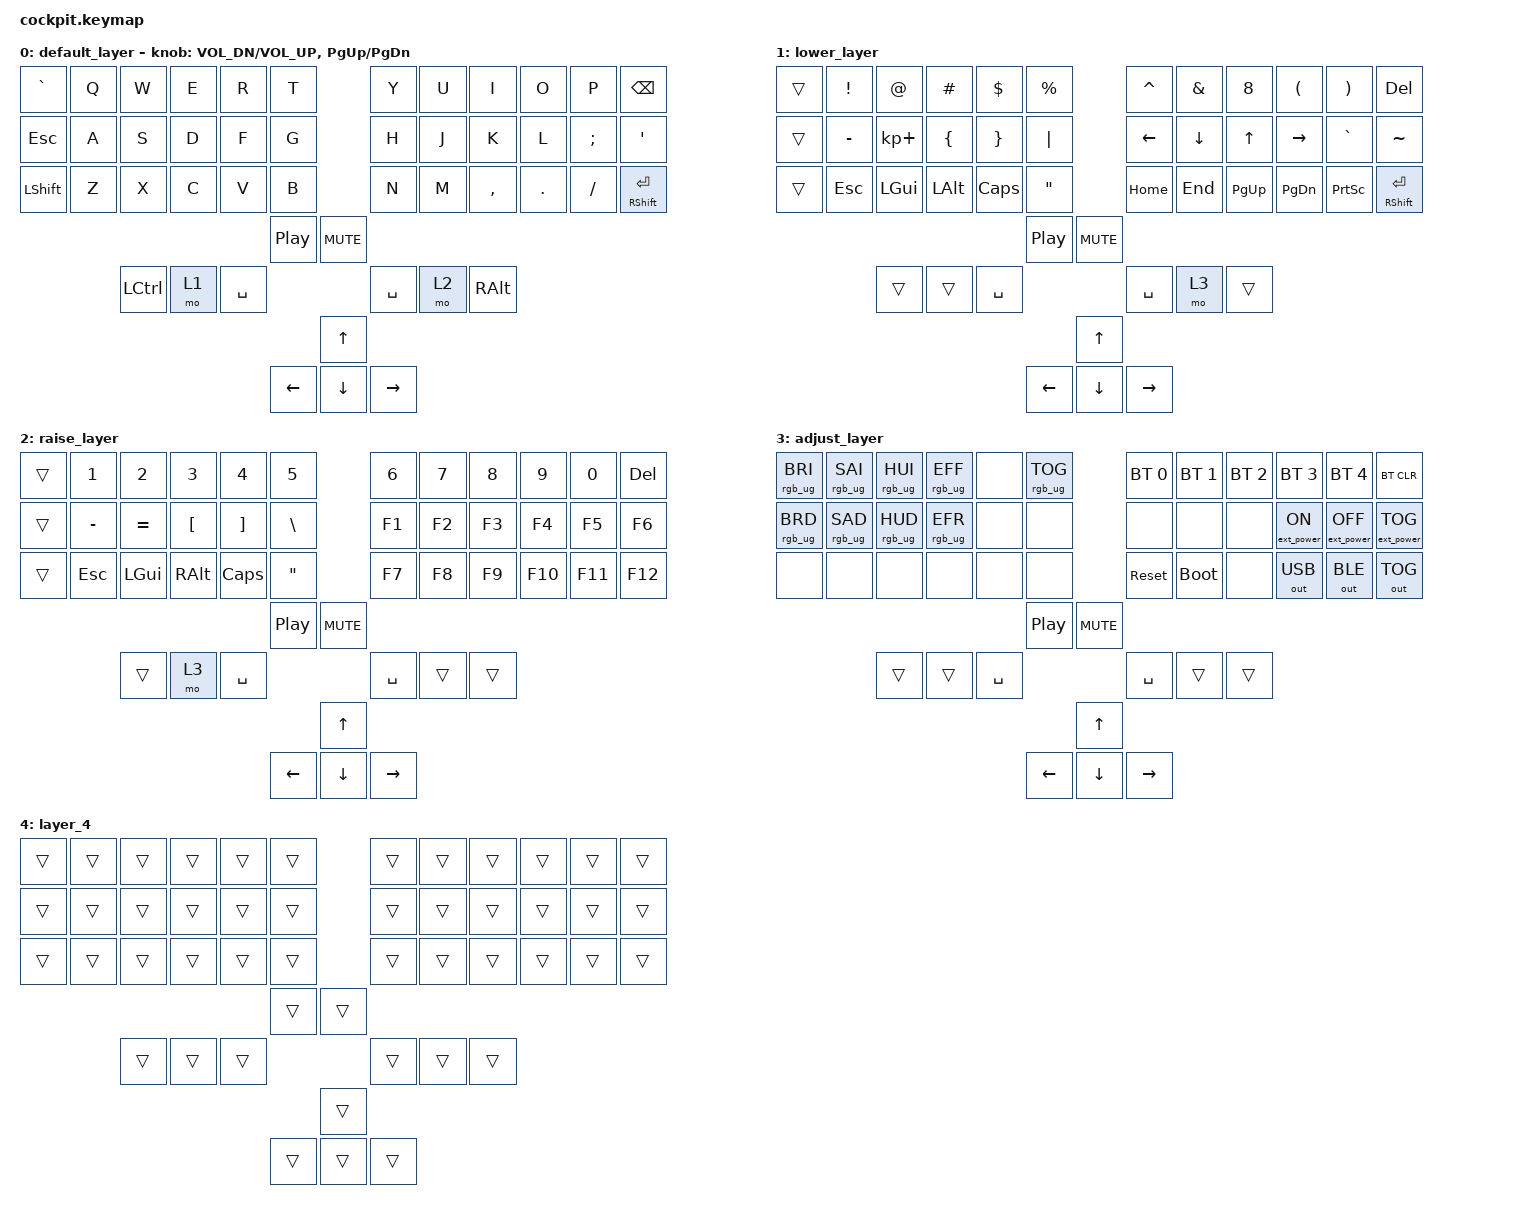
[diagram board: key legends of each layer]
/*
 * Copyright (c) 2022 ozkancelik  | github.com/ozkan
 *
 * SPDX-License-Identifier: MIT
 */

#include <dt-bindings/led/led.h>
#include <behaviors.dtsi>
#include <dt-bindings/zmk/bt.h>
#include <dt-bindings/zmk/ext_power.h>
#include <dt-bindings/zmk/keys.h>
#include <dt-bindings/zmk/outputs.h>
#include <dt-bindings/zmk/rgb.h>

&left_encoder { status = "okay"; };

&right_encoder { status = "okay"; };

/ {
    keymap {
        compatible = "zmk,keymap";

        default_layer {
            // BASE
            // ╭──────┬──────┬──────┬──────┬──────┬──────╮                   ╭──────┬──────┬──────┬──────┬──────┬──────╮
            // │  TAB │  Q   │  W   │  E   │  R   │  T   │                   │  Y   │  U   │  I   │  O   │   P  │ BSPC │
            // ├──────┼──────┼──────┼──────┼──────┼──────┤                   ├──────┼──────┼──────┼──────┼──────┼──────┤
            // │ CTRL │  A   │  S   │  D   │  F   │  G   │                   │  H   │  J   │  K   │  L   │   ;  │   '  │
            // ├──────┼──────┼──────┼──────┼──────┼──────┤                   ├──────┼──────┼──────┼──────┼──────┼──────┤
            // │ LSFT │  Z   │  X   │    C │  V   │  B   │                   │  N   │  M   │  ,   │    . │  /   │RS-ENT│
            // ╰──────┴──────┴──────┴──────┴──────┴──────┼─────────┬─────────┼──────┴──────┴──────┴──────┴──────┴──────╯
            //                                           │   MPLY  │  MUTE   │
            //                     ╭──────┬──────┬───────┼─────────┴─────────┼──────┬──────┬──────╮
            //                     │  ALT │LOWER │  FNL  │                   │ FNR  │RAISE │ RALT │
            //                     ╰──────┴──────┴───────┴─────┬──────┬──────┴──────┴──────┴──────╯
            //                                                 │  UP  │
            //                                          ╭──────┼──────┼──────╮
            //                                          │ LEFT │ DOWN │ RIGHT│
            //                                          ╰──────┴──────┴──────╯

            bindings = <
&kp GRAVE   &kp Q  &kp W                    &kp E         &kp R             &kp T                             &kp Y            &kp U  &kp I      &kp O    &kp P     &kp BSPC
&kp ESCAPE  &kp A  &kp S                    &kp D         &kp F             &kp G                             &kp H            &kp J  &kp K      &kp L    &kp SEMI  &kp SQT
&kp LSHFT   &kp Z  &kp X                    &kp C         &kp V             &kp B                             &kp N            &kp M  &kp COMMA  &kp DOT  &kp FSLH  &mt RSHFT RET
                                                                            &kp C_PLAY_PAUSE  &kp C_MUTE
                          &kp LEFT_CONTROL         &mo 1         &kp SPACE                                    &kp SPACE        &mo 2  &kp RALT
                                                                                              &kp UP_ARROW
                                                                            &kp LEFT_ARROW    &kp DOWN_ARROW  &kp RIGHT_ARROW
            >;

            sensor-bindings = <&inc_dec_kp C_VOL_DN C_VOL_UP &inc_dec_kp PG_UP PG_DN>;
        };

        lower_layer {
            // LOWER
            // ╭──────┬──────┬──────┬──────┬──────┬──────╮                   ╭──────┬──────┬──────┬──────┬──────┬──────╮
            // │  TAB │      │      │      │      │      │                   │      │      │      │      │      │ BSPC │
            // ├──────┼──────┼──────┼──────┼──────┼──────┤                   ├──────┼──────┼──────┼──────┼──────┼──────┤
            // │ CTRL │      │      │      │      │      │                   │      │      │      │      │      │   '  │
            // ├──────┼──────┼──────┼──────┼──────┼──────┤                   ├──────┼──────┼──────┼──────┼──────┼──────┤
            // │  SFT │      │      │      │      │      │                   │      │      │      │      │      │ ENT  │
            // ╰──────┴──────┴──────┴──────┴──────┴──────┼─────────┬─────────┼──────┴──────┴──────┴──────┴──────┴──────╯
            //                                           │   MPLY  │  MUTE   │
            //                     ╭──────┬──────┬───────┼─────────┴─────────┼──────┬──────┬──────╮
            //                     │  ALT │LOWER │  FNL  │                   │ FNR  │RAISE │  WIN │
            //                     ╰──────┴──────┴───────┴─────┬──────┬──────┴──────┴──────┴──────╯
            //                                                 │  UP  │
            //                                          ╭──────┼──────┼──────╮
            //                                          │ LEFT │ DOWN │ RIGHT│
            //                                          ╰──────┴──────┴──────╯

            bindings = <
&trans  &kp EXCL   &kp AT               &kp HASH          &kp DLLR             &kp PRCNT                         &kp CARET        &kp AMPS  &kp N8     &kp LPAR   &kp RPAR   &kp DEL
&trans  &kp MINUS  &kp KP_PLUS          &kp LBRC          &kp RBRC             &kp PIPE                          &kp LEFT         &kp DOWN  &kp UP     &kp RIGHT  &kp GRAVE  &kp TILDE
&trans  &kp ESC    &kp LGUI             &kp LALT          &kp CLCK             &kp DQT                           &kp HOME         &kp END   &kp PG_UP  &kp PG_DN  &kp PSCRN  &mt RSHFT RET
                                                                               &kp C_PLAY_PAUSE  &kp C_MUTE
                                &trans            &trans            &kp SPACE                                    &kp SPACE        &mo 3     &trans
                                                                                                 &kp UP_ARROW
                                                                               &kp LEFT_ARROW    &kp DOWN_ARROW  &kp RIGHT_ARROW
            >;
        };

        raise_layer {
            // ╭──────┬──────┬──────┬──────┬──────┬──────╮                   ╭──────┬──────┬──────┬──────┬──────┬──────╮
            // │  TAB │      │      │      │      │      │                   │      │      │      │      │      │ BSPC │
            // ├──────┼──────┼──────┼──────┼──────┼──────┤                   ├──────┼──────┼──────┼──────┼──────┼──────┤
            // │ CTRL │      │      │      │      │      │                   │      │      │      │      │      │   '  │
            // ├──────┼──────┼──────┼──────┼──────┼──────┤                   ├──────┼──────┼──────┼──────┼──────┼──────┤
            // │  SFT │      │      │      │      │      │                   │      │      │      │      │      │ ENT  │
            // ╰──────┴──────┴──────┴──────┴──────┴──────┼─────────┬─────────┼──────┴──────┴──────┴──────┴──────┴──────╯
            //                                           │   MPLY  │  MUTE   │
            //                     ╭──────┬──────┬───────┼─────────┴─────────┼──────┬──────┬──────╮
            //                     │  ALT │LOWER │  FNL  │                   │ FNR  │RAISE │  WIN │
            //                     ╰──────┴──────┴───────┴─────┬──────┬──────┴──────┴──────┴──────╯
            //                                                 │  UP  │
            //                                          ╭──────┼──────┼──────╮
            //                                          │ LEFT │ DOWN │ RIGHT│
            //                                          ╰──────┴──────┴──────╯

            bindings = <
&trans  &kp N1     &kp N2             &kp N3           &kp N4               &kp N5                            &kp N6           &kp N7  &kp N8  &kp N9   &kp N0   &kp DEL
&trans  &kp MINUS  &kp EQUAL          &kp LBKT         &kp RBKT             &kp BSLH                          &kp F1           &kp F2  &kp F3  &kp F4   &kp F5   &kp F6
&trans  &kp ESC    &kp LGUI           &kp RALT         &kp CLCK             &kp DQT                           &kp F7           &kp F8  &kp F9  &kp F10  &kp F11  &kp F12
                                                                            &kp C_PLAY_PAUSE  &kp C_MUTE
                              &trans            &mo 3            &kp SPACE                                    &kp SPACE        &trans  &trans
                                                                                              &kp UP_ARROW
                                                                            &kp LEFT_ARROW    &kp DOWN_ARROW  &kp RIGHT_ARROW
            >;
        };

        adjust_layer {
            // ADJUST
            // ╭──────┬──────┬──────┬──────┬──────┬──────╮                   ╭──────┬──────┬──────┬──────┬──────┬──────╮
            // | BRI+ | SAT+ | HUE+ | ANI+ |      | TOG  |                   │ bt1  | bt2  | bt3  | bt4  | bt5  |btclr │
            // ├──────┼──────┼──────┼──────┼──────┼──────┤                   ├──────┼──────┼──────┼──────┼──────┼──────┤
            // | BRI- | SAT- | HUE- | ANI- |      |      |                   |      |      |      |EP_ON |EP_OFF|EP_TOG|
            // ├──────┼──────┼──────┼──────┼──────┼──────┤                   ├──────┼──────┼──────┼──────┼──────┼──────┤
            // │      │      │      │      │      │      │                   |RESET |BOOTL |      |O_USB |O_BLE|OUT_TOG|
            // ╰──────┴──────┴──────┴──────┴──────┴──────┼─────────┬─────────┼──────┴──────┴──────┴──────┴──────┴──────╯
            //                                           │   MPLY  │  MUTE   │
            //                     ╭──────┬──────┬───────┼─────────┴─────────┼──────┬──────┬──────╮
            //                     │      │      │  SPC  │                   │ SPC  │      │      │
            //                     ╰──────┴──────┴───────┴─────┬──────┬──────┴──────┴──────┴──────╯
            //                                                 │  UP  │
            //                                          ╭──────┼──────┼──────╮
            //                                          │ LEFT │ DOWN │ RIGHT│
            //                                          ╰──────┴──────┴──────╯

            bindings = <
&rgb_ug RGB_BRI  &rgb_ug RGB_SAI  &rgb_ug RGB_HUI          &rgb_ug RGB_EFF          &none             &rgb_ug RGB_TOG                   &bt BT_SEL 0     &bt BT_SEL 1  &bt BT_SEL 2  &bt BT_SEL 3      &bt BT_SEL 4       &bt BT_CLR
&rgb_ug RGB_BRD  &rgb_ug RGB_SAD  &rgb_ug RGB_HUD          &rgb_ug RGB_EFR          &none             &none                             &none            &none         &none         &ext_power EP_ON  &ext_power EP_OFF  &ext_power EP_TOG
&none            &none            &none                    &none                    &none             &none                             &sys_reset       &bootloader   &none         &out OUT_USB      &out OUT_BLE       &out OUT_TOG
                                                                                                      &kp C_PLAY_PAUSE  &kp C_MUTE
                                                   &trans                   &trans         &kp SPACE                                    &kp SPACE        &trans        &trans
                                                                                                                        &kp UP_ARROW
                                                                                                      &kp LEFT_ARROW    &kp DOWN_ARROW  &kp RIGHT_ARROW
            >;
        };

        layer_4 {
            bindings = <
&trans  &trans  &trans          &trans          &trans          &trans          &trans  &trans  &trans  &trans  &trans  &trans
&trans  &trans  &trans          &trans          &trans          &trans          &trans  &trans  &trans  &trans  &trans  &trans
&trans  &trans  &trans          &trans          &trans          &trans          &trans  &trans  &trans  &trans  &trans  &trans
                                                                &trans  &trans
                        &trans          &trans          &trans                  &trans  &trans  &trans
                                                                        &trans
                                                                &trans  &trans  &trans
            >;
        };
    };
};
